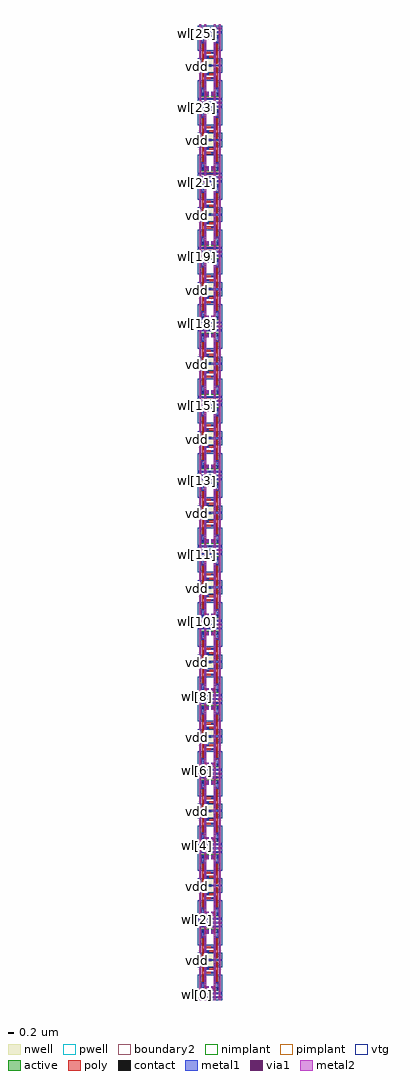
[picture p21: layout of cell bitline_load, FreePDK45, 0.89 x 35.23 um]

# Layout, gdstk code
import gdstk
lib = gdstk.Library(unit=1e-6, precision=5e-10)
def R(c, l, rs):  # rectangles x0, y0, x1, y1
    for r in rs: c.add(gdstk.rectangle(r[:2], r[2:], *l))
active = (1, 0)
pwell = (2, 0)
nwell = (3, 0)
nimplant = (4, 0)
pimplant = (5, 0)
vtg = (6, 0)
poly = (9, 0)
contact = (10, 0)
metal1 = (11, 0)
via1 = (12, 0)
metal2 = (13, 0)
boundary2 = (239, 0)

cell_6t = lib.new_cell('cell_6t')
R(cell_6t, active, [(0.3075,-0.045,0.3975,0.045), (0.3075,-0.045,0.3975,0.045), (0.045,0.2275,0.305,0.3625), (0.045,0.2275,0.12,0.3625), (0.045,0.2275,0.12,0.3625), (0.23,0.2275,0.305,0.3625), (0.23,0.2275,0.305,0.3625), (0.4,0.2275,0.66,0.3625), (0.4,0.2275,0.475,0.3625), (0.4,0.2275,0.475,0.3625), (0.585,0.2275,0.66,0.3625), (0.585,0.2275,0.66,0.3625), (0.045,0.2875,0.12,0.3625), (0.23,0.2875,0.305,0.3625), (0.4,0.2875,0.475,0.3625), (0.585,0.2875,0.66,0.3625), (-0.035,0.5475,0.225,0.7525), (-0.035,0.5475,0.04,0.7525), (-0.035,0.5475,0.04,0.7525), (0.15,0.5475,0.225,0.7525), (0.15,0.5475,0.225,0.7525), (0.48,0.5475,0.74,0.7525), (0.48,0.5475,0.555,0.7525), (0.48,0.5475,0.555,0.7525), (0.665,0.5475,0.74,0.7525), (0.665,0.5475,0.74,0.7525), (-0.035,0.6775,0.04,0.7525), (0.15,0.6775,0.225,0.7525), (0.48,0.6775,0.555,0.7525), (0.665,0.6775,0.74,0.7525), (-0.035,1.1425,0.04,1.2175), (-0.035,1.1425,0.225,1.2325), (-0.035,1.1425,0.04,1.2325), (-0.035,1.1425,0.04,1.2325), (0.15,1.1425,0.225,1.2175), (0.15,1.1425,0.225,1.2325), (0.15,1.1425,0.225,1.2325), (0.48,1.1425,0.555,1.2175), (0.48,1.1425,0.74,1.2325), (0.48,1.1425,0.555,1.2325), (0.48,1.1425,0.555,1.2325), (0.665,1.1425,0.74,1.2175), (0.665,1.1425,0.74,1.2325), (0.665,1.1425,0.74,1.2325), (0.3025,1.3,0.3925,1.39), (0.3025,1.3,0.3925,1.39)])
R(cell_6t, pwell, [(-0.09,-0.1,0.795,0.8075), (0.2525,-0.1,0.4525,0.1), (0.2525,-0.1,0.4525,0.1), (-0.01,0.1725,0.36,0.4175), (0.345,0.1725,0.715,0.4175), (-0.09,0.4925,0.28,0.8075), (0.425,0.4925,0.795,0.8075)])
R(cell_6t, nwell, [(-0.09,1.0875,0.28,1.2875), (-0.09,1.0875,0.795,1.445), (0.425,1.0875,0.795,1.2875), (0.2475,1.245,0.4475,1.445), (0.2475,1.245,0.4475,1.445)])
R(cell_6t, nimplant, [(0.045,0.2275,0.305,0.3625), (0.4,0.2275,0.66,0.3625), (-0.035,0.5475,0.225,0.7525), (0.48,0.5475,0.74,0.7525), (0.3025,1.3,0.3925,1.39), (0.3025,1.3,0.3925,1.39)])
R(cell_6t, pimplant, [(0.3075,-0.045,0.3975,0.045), (0.3075,-0.045,0.3975,0.045), (-0.035,1.1425,0.225,1.2325), (0.48,1.1425,0.74,1.2325)])
R(cell_6t, vtg, [(-0.09,-0.1,0.795,0.8075), (-0.01,0.1725,0.36,0.4175), (0.345,0.1725,0.715,0.4175), (-0.09,0.4925,0.28,0.8075), (0.425,0.4925,0.795,0.8075), (-0.09,1.0875,0.28,1.2875), (-0.09,1.0875,0.795,1.445), (0.425,1.0875,0.795,1.2875)])
R(cell_6t, poly, [(0.07,0.1025,0.635,0.1775), (0.2975,0.1025,0.3725,0.1775), (0.15,0.1725,0.2,0.2275), (0.15,0.1725,0.2,0.4175), (0.505,0.1725,0.555,0.2275), (0.505,0.1725,0.555,0.4175), (0.15,0.3625,0.2,0.4175), (0.505,0.3625,0.555,0.4175), (0.07,0.4925,0.12,0.5475), (0.07,0.4925,0.12,0.8075), (0.585,0.4925,0.635,0.5475), (0.585,0.4925,0.635,0.8075), (0.07,0.7525,0.12,0.8075), (0.585,0.7525,0.635,0.8075), (0.07,0.8075,0.12,1.0875), (0.07,0.8075,0.12,1.0875), (0.585,0.8075,0.635,1.0875), (0.585,0.8075,0.635,1.0875), (0.07,0.8425,0.5025,0.9175), (0.4275,0.8425,0.5025,0.9175), (0.4275,0.8425,0.5025,0.9175), (0.2025,0.9925,0.2775,1.0675), (0.2025,0.9925,0.2775,1.0675), (0.2025,0.9925,0.635,1.0675), (0.07,1.0875,0.12,1.1425), (0.07,1.0875,0.12,1.2875), (0.585,1.0875,0.635,1.1425), (0.585,1.0875,0.635,1.2875), (0.07,1.2325,0.12,1.2875), (0.585,1.2325,0.635,1.2875)])
R(cell_6t, contact, [(0.32,-0.0325,0.385,0.0325), (0.32,-0.0325,0.385,0.0325), (0.3025,0.1075,0.3675,0.1725), (0.05,0.2925,0.115,0.3575), (0.235,0.2925,0.3,0.3575), (0.405,0.2925,0.47,0.3575), (0.59,0.2925,0.655,0.3575), (-0.03,0.6825,0.035,0.7475), (0.155,0.6825,0.22,0.7475), (0.485,0.6825,0.55,0.7475), (0.67,0.6825,0.735,0.7475), (0.4325,0.8475,0.4975,0.9125), (0.4325,0.8475,0.4975,0.9125), (0.2075,0.9975,0.2725,1.0625), (0.2075,0.9975,0.2725,1.0625), (-0.03,1.1475,0.035,1.2125), (0.155,1.1475,0.22,1.2125), (0.485,1.1475,0.55,1.2125), (0.67,1.1475,0.735,1.2125), (0.315,1.3125,0.38,1.3775), (0.315,1.3125,0.38,1.3775)])
R(cell_6t, metal1, [(-0.09,-0.0325,0.795,0.0325), (-0.09,-0.0325,0.795,0.0325), (-0.0675,-0.0325,0.0675,0.0325), (-0.0675,-0.0325,0.0675,0.0325), (0.285,-0.0325,0.42,0.0325), (0.285,-0.0325,0.42,0.0325), (0.6375,-0.0325,0.7725,0.0325), (0.6375,-0.0325,0.7725,0.0325), (0.6375,-0.0325,0.7725,0.0325), (0.6375,-0.0325,0.7725,0.0325), (-0.09,0.1075,0.795,0.1725), (-0.09,0.1075,0.795,0.1725), (0.2675,0.1075,0.4025,0.1725), (-0.085,0.11,-0.0325,0.1725), (0.62,0.11,0.6725,0.1725), (0.05,0.2575,0.115,0.3925), (0.05,0.2575,0.12,0.5475), (0.2225,0.2575,0.2875,0.3925), (0.235,0.2575,0.3,0.3925), (0.405,0.2575,0.47,0.3925), (0.4175,0.2575,0.4825,0.3925), (0.59,0.2575,0.655,0.3925), (0.59,0.2575,0.66,0.5475), (0.05,0.4825,0.22,0.5475), (0.155,0.4825,0.22,1.2225), (0.485,0.4825,0.66,0.5475), (0.485,0.4825,0.55,1.1125), (-0.035,0.6475,0.035,0.7825), (-0.035,0.6475,0.035,0.7825), (-0.03,0.6475,0.035,0.7825), (0.155,0.6475,0.22,0.7825), (0.485,0.6475,0.55,0.7825), (0.67,0.6475,0.735,0.7825), (0.67,0.6475,0.74,0.7825), (0.67,0.6475,0.74,0.7825), (0.67,0.6475,0.74,0.7825), (0.67,0.6475,0.74,0.7825), (0.67,0.6475,0.74,0.7825), (0.67,0.6475,0.74,0.7825), (-0.0325,0.75,0.0325,0.885), (-0.0325,0.75,0.0325,0.885), (-0.0325,0.75,0.0325,0.885), (-0.0325,0.75,0.0325,0.885), (-0.0325,0.75,0.0325,0.885), (-0.0325,0.75,0.0325,0.885), (0.6725,0.75,0.7375,0.885), (0.6725,0.75,0.7375,0.885), (0.6725,0.75,0.7375,0.885), (0.6725,0.75,0.7375,0.885), (0.6725,0.75,0.7375,0.885), (0.6725,0.75,0.7375,0.885), (0.6725,0.75,0.7375,0.885), (0.6725,0.75,0.7375,0.885), (0.6725,0.75,0.7375,0.885), (0.6725,0.75,0.7375,0.885), (0.6725,0.75,0.7375,0.885), (0.6725,0.75,0.7375,0.885), (0.6725,0.75,0.7375,0.885), (0.6725,0.75,0.7375,0.885), (0.6725,0.75,0.7375,0.885), (0.6725,0.75,0.7375,0.885), (0.6725,0.75,0.7375,0.885), (0.6725,0.75,0.7375,0.885), (0.6725,0.75,0.7375,0.885), (0.6725,0.75,0.7375,0.885), (0.6725,0.75,0.7375,0.885), (0.6725,0.75,0.7375,0.885), (0.6725,0.75,0.7375,0.885), (0.6725,0.75,0.7375,0.885), (0.3975,0.8475,0.5325,0.9125), (0.3975,0.8475,0.5325,0.9125), (0.1725,0.9975,0.3075,1.0625), (0.1725,0.9975,0.3075,1.0625), (-0.035,1.1125,0.035,1.3125), (-0.03,1.1125,0.035,1.2475), (0.155,1.1125,0.22,1.2475), (0.485,1.1125,0.55,1.2475), (0.67,1.1125,0.735,1.2475), (0.67,1.1125,0.74,1.3125), (0.67,1.1125,0.74,1.3125), (-0.09,1.3125,0.795,1.3775), (-0.09,1.3125,0.795,1.3775), (0.28,1.3125,0.415,1.3775), (0.28,1.3125,0.415,1.3775), (0.2925,1.3125,0.3925,1.375), (0.2925,1.3125,0.3925,1.375), (0.2925,1.315,0.3925,1.3775), (0.2925,1.315,0.3925,1.3775)])
R(cell_6t, via1, [(-0.0325,-0.0325,0.0325,0.0325), (-0.0325,-0.0325,0.0325,0.0325), (0.6725,-0.0325,0.7375,0.0325), (0.6725,-0.0325,0.7375,0.0325), (0.6725,-0.0325,0.7375,0.0325), (0.6725,-0.0325,0.7375,0.0325), (0.2225,0.2925,0.2875,0.3575), (0.4175,0.2925,0.4825,0.3575), (-0.0325,0.785,0.0325,0.85), (-0.0325,0.785,0.0325,0.85), (-0.0325,0.785,0.0325,0.85), (-0.0325,0.785,0.0325,0.85), (-0.0325,0.785,0.0325,0.85), (-0.0325,0.785,0.0325,0.85), (0.6725,0.785,0.7375,0.85), (0.6725,0.785,0.7375,0.85), (0.6725,0.785,0.7375,0.85), (0.6725,0.785,0.7375,0.85), (0.6725,0.785,0.7375,0.85), (0.6725,0.785,0.7375,0.85), (0.6725,0.785,0.7375,0.85), (0.6725,0.785,0.7375,0.85), (0.6725,0.785,0.7375,0.85), (0.6725,0.785,0.7375,0.85), (0.6725,0.785,0.7375,0.85), (0.6725,0.785,0.7375,0.85), (0.6725,0.785,0.7375,0.85), (0.6725,0.785,0.7375,0.85), (0.6725,0.785,0.7375,0.85), (0.6725,0.785,0.7375,0.85), (0.6725,0.785,0.7375,0.85), (0.6725,0.785,0.7375,0.85), (0.6725,0.785,0.7375,0.85), (0.6725,0.785,0.7375,0.85), (0.6725,0.785,0.7375,0.85), (0.6725,0.785,0.7375,0.85), (0.6725,0.785,0.7375,0.85), (0.6725,0.785,0.7375,0.85)])
R(cell_6t, metal2, [(-0.035,-0.1,0.035,1.445), (-0.035,-0.1,0.035,1.445), (0.15,-0.1,0.22,1.445), (0.15,-0.1,0.22,1.445), (0.485,-0.1,0.555,1.445), (0.485,-0.1,0.555,1.445), (0.67,-0.1,0.74,1.445), (0.67,-0.1,0.74,1.445), (-0.0675,-0.035,0.0675,0.035), (-0.0675,-0.035,0.0675,0.035), (0.6375,-0.035,0.7725,0.035), (0.6375,-0.035,0.7725,0.035), (0.6375,-0.035,0.7725,0.035), (0.6375,-0.035,0.7725,0.035), (0.4925,-0.0325,0.55,0.0275), (0.67,-0.0325,0.74,1.3775), (-0.03,-0.03,0.03,0.0275), (0.1575,-0.025,0.2125,0.0275), (0.675,-0.025,0.735,0.0325), (0.22,0.2575,0.29,0.3925), (0.415,0.2575,0.485,0.3925), (-0.035,0.75,0.035,0.885), (-0.035,0.75,0.035,0.885), (-0.035,0.75,0.035,0.885), (-0.035,0.75,0.035,0.885), (-0.035,0.75,0.035,0.885), (-0.035,0.75,0.035,0.885), (0.67,0.75,0.74,0.885), (0.67,0.75,0.74,0.885), (0.67,0.75,0.74,0.885), (0.67,0.75,0.74,0.885), (0.67,0.75,0.74,0.885), (0.67,0.75,0.74,0.885), (0.67,0.75,0.74,0.885), (0.67,0.75,0.74,0.885), (0.67,0.75,0.74,0.885), (0.67,0.75,0.74,0.885), (0.67,0.75,0.74,0.885), (0.67,0.75,0.74,0.885), (0.67,0.75,0.74,0.885), (0.67,0.75,0.74,0.885), (0.67,0.75,0.74,0.885), (0.67,0.75,0.74,0.885), (0.67,0.75,0.74,0.885), (0.67,0.75,0.74,0.885), (0.67,0.75,0.74,0.885), (0.67,0.75,0.74,0.885), (0.67,0.75,0.74,0.885), (0.67,0.75,0.74,0.885), (0.67,0.75,0.74,0.885), (0.67,0.75,0.74,0.885)])
R(cell_6t, boundary2, [(0,0,0.705,1.345)])
cell_6t.add(gdstk.Label('gnd', (0,0.0175), layer=13, texttype=0))
cell_6t.add(gdstk.Label('gnd', (0.7025,0.015), layer=13, texttype=0))
cell_6t.add(gdstk.Label('BR', (0.52,0.0025), layer=13, texttype=0))
cell_6t.add(gdstk.Label('BL', (0.19,0.0025), layer=13, texttype=0))
cell_6t.add(gdstk.Label('l = 0.05', (0.645,1.1875), layer=230, texttype=0))
cell_6t.add(gdstk.Label('w = 0.09', (0.61,1.2975), layer=230, texttype=0))
cell_6t.add(gdstk.Label('l = 0.05', (0.06,1.1875), layer=230, texttype=0))
cell_6t.add(gdstk.Label('w = 0.09', (0.095,1.2975), layer=230, texttype=0))
cell_6t.add(gdstk.Label('l = 0.05', (0.575,0.65), layer=230, texttype=0))
cell_6t.add(gdstk.Label('w = 0.21', (0.61,0.4825), layer=230, texttype=0))
cell_6t.add(gdstk.Label('l = 0.05', (0.13,0.65), layer=230, texttype=0))
cell_6t.add(gdstk.Label('w = 0.21', (0.095,0.4825), layer=230, texttype=0))
cell_6t.add(gdstk.Label('l = 0.05', (0.565,0.295), layer=230, texttype=0))
cell_6t.add(gdstk.Label('w = 0.14', (0.53,0.1625), layer=230, texttype=0))
cell_6t.add(gdstk.Label('l = 0.05', (0.21,0.295), layer=230, texttype=0))
cell_6t.add(gdstk.Label('w = 0.14', (0.175,0.1625), layer=230, texttype=0))
cell_6t.add(gdstk.Label('vdd', (0.3425,1.355), layer=11, texttype=0))
cell_6t.add(gdstk.Label('WL', (-0.05,0.1475), layer=11, texttype=0))
cell_6t.add(gdstk.Label('gnd', (0.0875,-0.0075), layer=11, texttype=0))
cell_6t.add(gdstk.Label('BL', (0.15,-0.1), layer=13, texttype=0))
cell_6t.add(gdstk.Label('WL', (-0.09,0.1075), layer=11, texttype=0))
cell_6t.add(gdstk.Label('gnd', (-0.035,-0.1), layer=13, texttype=0))
cell_6t.add(gdstk.Label('gnd', (0.67,-0.1), layer=13, texttype=0))
cell_6t.add(gdstk.Label('gnd', (-0.09,-0.0325), layer=11, texttype=0))
cell_6t.add(gdstk.Label('vdd', (-0.09,1.3125), layer=11, texttype=0))
cell_6t.add(gdstk.Label('BR', (0.485,-0.1), layer=13, texttype=0))

bitline_load = lib.new_cell('bitline_load')
R(bitline_load, metal1, [(-0.09,-0.0325,0.795,0.0325), (-0.09,-0.0325,0.795,0.0325), (-0.09,0.1075,0.795,0.1725), (-0.09,0.1075,0.795,0.1725), (-0.09,1.3125,0.795,1.3775), (-0.09,1.3125,0.795,1.3775), (-0.09,2.5175,0.795,2.5825), (-0.09,2.5175,0.795,2.5825), (-0.09,2.6575,0.795,2.7225), (-0.09,2.6575,0.795,2.7225), (-0.09,2.7975,0.795,2.8625), (-0.09,2.7975,0.795,2.8625), (-0.09,4.0025,0.795,4.0675), (-0.09,4.0025,0.795,4.0675), (-0.09,5.2075,0.795,5.2725), (-0.09,5.2075,0.795,5.2725), (-0.09,5.3475,0.795,5.4125), (-0.09,5.3475,0.795,5.4125), (-0.09,5.4875,0.795,5.5525), (-0.09,5.4875,0.795,5.5525), (-0.09,6.6925,0.795,6.7575), (-0.09,6.6925,0.795,6.7575), (-0.09,7.8975,0.795,7.9625), (-0.09,7.8975,0.795,7.9625), (-0.09,8.0375,0.795,8.1025), (-0.09,8.0375,0.795,8.1025), (-0.09,8.1775,0.795,8.2425), (-0.09,8.1775,0.795,8.2425), (-0.09,9.3825,0.795,9.4475), (-0.09,9.3825,0.795,9.4475), (-0.09,10.5875,0.795,10.6525), (-0.09,10.5875,0.795,10.6525), (-0.09,10.7275,0.795,10.7925), (-0.09,10.7275,0.795,10.7925), (-0.09,10.8675,0.795,10.9325), (-0.09,10.8675,0.795,10.9325), (-0.09,12.0725,0.795,12.1375), (-0.09,12.0725,0.795,12.1375), (-0.09,13.2775,0.795,13.3425), (-0.09,13.2775,0.795,13.3425), (-0.09,13.4175,0.795,13.4825), (-0.09,13.4175,0.795,13.4825), (-0.09,13.5575,0.795,13.6225), (-0.09,13.5575,0.795,13.6225), (-0.09,14.7625,0.795,14.8275), (-0.09,14.7625,0.795,14.8275), (-0.09,15.9675,0.795,16.0325), (-0.09,15.9675,0.795,16.0325), (-0.09,16.1075,0.795,16.1725), (-0.09,16.1075,0.795,16.1725), (-0.09,16.2475,0.795,16.3125), (-0.09,16.2475,0.795,16.3125), (-0.09,17.4525,0.795,17.5175), (-0.09,17.4525,0.795,17.5175), (-0.09,18.6575,0.795,18.7225), (-0.09,18.6575,0.795,18.7225), (-0.09,18.7975,0.795,18.8625), (-0.09,18.7975,0.795,18.8625), (-0.09,18.9375,0.795,19.0025), (-0.09,18.9375,0.795,19.0025), (-0.09,20.1425,0.795,20.2075), (-0.09,20.1425,0.795,20.2075), (-0.09,21.3475,0.795,21.4125), (-0.09,21.3475,0.795,21.4125), (-0.09,21.4875,0.795,21.5525), (-0.09,21.4875,0.795,21.5525), (-0.09,21.6275,0.795,21.6925), (-0.09,21.6275,0.795,21.6925), (-0.09,22.8325,0.795,22.8975), (-0.09,22.8325,0.795,22.8975), (-0.09,24.0375,0.795,24.1025), (-0.09,24.0375,0.795,24.1025), (-0.09,24.1775,0.795,24.2425), (-0.09,24.1775,0.795,24.2425), (-0.09,24.3175,0.795,24.3825), (-0.09,24.3175,0.795,24.3825), (-0.09,25.5225,0.795,25.5875), (-0.09,25.5225,0.795,25.5875), (-0.09,26.7275,0.795,26.7925), (-0.09,26.7275,0.795,26.7925), (-0.09,26.8675,0.795,26.9325), (-0.09,26.8675,0.795,26.9325), (-0.09,27.0075,0.795,27.0725), (-0.09,27.0075,0.795,27.0725), (-0.09,28.2125,0.795,28.2775), (-0.09,28.2125,0.795,28.2775), (-0.09,29.4175,0.795,29.4825), (-0.09,29.4175,0.795,29.4825), (-0.09,29.5575,0.795,29.6225), (-0.09,29.5575,0.795,29.6225), (-0.09,29.6975,0.795,29.7625), (-0.09,29.6975,0.795,29.7625), (-0.09,30.9025,0.795,30.9675), (-0.09,30.9025,0.795,30.9675), (-0.09,32.1075,0.795,32.1725), (-0.09,32.1075,0.795,32.1725), (-0.09,32.2475,0.795,32.3125), (-0.09,32.2475,0.795,32.3125), (-0.09,32.3875,0.795,32.4525), (-0.09,32.3875,0.795,32.4525), (-0.09,33.5925,0.795,33.6575), (-0.09,33.5925,0.795,33.6575), (-0.09,34.7975,0.795,34.8625), (-0.09,34.7975,0.795,34.8625), (-0.09,34.9375,0.795,35.0025), (-0.09,34.9375,0.795,35.0025)])
R(bitline_load, metal2, [(-0.035,-0.1,0.035,35.125), (-0.035,-0.1,0.035,35.125), (0.15,-0.1,0.22,35.125), (0.15,-0.1,0.22,35.125), (0.485,-0.1,0.555,35.125), (0.485,-0.1,0.555,35.125), (0.67,-0.1,0.74,35.125), (0.67,-0.1,0.74,35.125)])
bitline_load.add(gdstk.Reference(cell_6t, (0,0)))
bitline_load.add(gdstk.Reference(cell_6t, (0,2.69), x_reflection=True))
bitline_load.add(gdstk.Reference(cell_6t, (0,2.69)))
bitline_load.add(gdstk.Reference(cell_6t, (0,5.38), x_reflection=True))
bitline_load.add(gdstk.Reference(cell_6t, (0,5.38)))
bitline_load.add(gdstk.Reference(cell_6t, (0,8.07), x_reflection=True))
bitline_load.add(gdstk.Reference(cell_6t, (0,8.07)))
bitline_load.add(gdstk.Reference(cell_6t, (0,10.76), x_reflection=True))
bitline_load.add(gdstk.Reference(cell_6t, (0,10.76)))
bitline_load.add(gdstk.Reference(cell_6t, (0,13.45), x_reflection=True))
bitline_load.add(gdstk.Reference(cell_6t, (0,13.45)))
bitline_load.add(gdstk.Reference(cell_6t, (0,16.14), x_reflection=True))
bitline_load.add(gdstk.Reference(cell_6t, (0,16.14)))
bitline_load.add(gdstk.Reference(cell_6t, (0,18.83), x_reflection=True))
bitline_load.add(gdstk.Reference(cell_6t, (0,18.83)))
bitline_load.add(gdstk.Reference(cell_6t, (0,21.52), x_reflection=True))
bitline_load.add(gdstk.Reference(cell_6t, (0,21.52)))
bitline_load.add(gdstk.Reference(cell_6t, (0,24.21), x_reflection=True))
bitline_load.add(gdstk.Reference(cell_6t, (0,24.21)))
bitline_load.add(gdstk.Reference(cell_6t, (0,26.9), x_reflection=True))
bitline_load.add(gdstk.Reference(cell_6t, (0,26.9)))
bitline_load.add(gdstk.Reference(cell_6t, (0,29.59), x_reflection=True))
bitline_load.add(gdstk.Reference(cell_6t, (0,29.59)))
bitline_load.add(gdstk.Reference(cell_6t, (0,32.28), x_reflection=True))
bitline_load.add(gdstk.Reference(cell_6t, (0,32.28)))
bitline_load.add(gdstk.Reference(cell_6t, (0,34.97), x_reflection=True))
bitline_load.add(gdstk.Reference(cell_6t, (0,0)))
bitline_load.add(gdstk.Reference(cell_6t, (0,2.69), x_reflection=True))
bitline_load.add(gdstk.Reference(cell_6t, (0,2.69)))
bitline_load.add(gdstk.Reference(cell_6t, (0,5.38), x_reflection=True))
bitline_load.add(gdstk.Reference(cell_6t, (0,5.38)))
bitline_load.add(gdstk.Reference(cell_6t, (0,8.07), x_reflection=True))
bitline_load.add(gdstk.Reference(cell_6t, (0,8.07)))
bitline_load.add(gdstk.Reference(cell_6t, (0,10.76), x_reflection=True))
bitline_load.add(gdstk.Reference(cell_6t, (0,10.76)))
bitline_load.add(gdstk.Reference(cell_6t, (0,13.45), x_reflection=True))
bitline_load.add(gdstk.Reference(cell_6t, (0,13.45)))
bitline_load.add(gdstk.Reference(cell_6t, (0,16.14), x_reflection=True))
bitline_load.add(gdstk.Reference(cell_6t, (0,16.14)))
bitline_load.add(gdstk.Reference(cell_6t, (0,18.83), x_reflection=True))
bitline_load.add(gdstk.Reference(cell_6t, (0,18.83)))
bitline_load.add(gdstk.Reference(cell_6t, (0,21.52), x_reflection=True))
bitline_load.add(gdstk.Reference(cell_6t, (0,21.52)))
bitline_load.add(gdstk.Reference(cell_6t, (0,24.21), x_reflection=True))
bitline_load.add(gdstk.Reference(cell_6t, (0,24.21)))
bitline_load.add(gdstk.Reference(cell_6t, (0,26.9), x_reflection=True))
bitline_load.add(gdstk.Reference(cell_6t, (0,26.9)))
bitline_load.add(gdstk.Reference(cell_6t, (0,29.59), x_reflection=True))
bitline_load.add(gdstk.Reference(cell_6t, (0,29.59)))
bitline_load.add(gdstk.Reference(cell_6t, (0,32.28), x_reflection=True))
bitline_load.add(gdstk.Reference(cell_6t, (0,32.28)))
bitline_load.add(gdstk.Reference(cell_6t, (0,34.97), x_reflection=True))
bitline_load.add(gdstk.Label('wl[4]', (-0.09,5.4875), layer=11, texttype=0))
bitline_load.add(gdstk.Label('wl[0]', (-0.09,0.1075), layer=11, texttype=0))
bitline_load.add(gdstk.Label('wl[2]', (-0.09,2.7975), layer=11, texttype=0))
bitline_load.add(gdstk.Label('br[0]', (0.485,-0.1), layer=13, texttype=0))
bitline_load.add(gdstk.Label('wl[18]', (-0.09,24.3175), layer=11, texttype=0))
bitline_load.add(gdstk.Label('wl[19]', (-0.09,26.7275), layer=11, texttype=0))
bitline_load.add(gdstk.Label('wl[15]', (-0.09,21.3475), layer=11, texttype=0))
bitline_load.add(gdstk.Label('wl[21]', (-0.09,29.4175), layer=11, texttype=0))
bitline_load.add(gdstk.Label('wl[8]', (-0.09,10.8675), layer=11, texttype=0))
bitline_load.add(gdstk.Label('wl[25]', (-0.09,34.7975), layer=11, texttype=0))
bitline_load.add(gdstk.Label('wl[23]', (-0.09,32.1075), layer=11, texttype=0))
bitline_load.add(gdstk.Label('wl[17]', (-0.09,24.0375), layer=11, texttype=0))
bitline_load.add(gdstk.Label('wl[6]', (-0.09,8.1775), layer=11, texttype=0))
bitline_load.add(gdstk.Label('wl[13]', (-0.09,18.6575), layer=11, texttype=0))
bitline_load.add(gdstk.Label('wl[11]', (-0.09,15.9675), layer=11, texttype=0))
bitline_load.add(gdstk.Label('wl[3]', (-0.09,5.2075), layer=11, texttype=0))
bitline_load.add(gdstk.Label('wl[5]', (-0.09,7.8975), layer=11, texttype=0))
bitline_load.add(gdstk.Label('wl[1]', (-0.09,2.5175), layer=11, texttype=0))
bitline_load.add(gdstk.Label('bl[0]', (0.15,-0.1), layer=13, texttype=0))
bitline_load.add(gdstk.Label('wl[20]', (-0.09,27.0075), layer=11, texttype=0))
bitline_load.add(gdstk.Label('wl[14]', (-0.09,18.9375), layer=11, texttype=0))
bitline_load.add(gdstk.Label('wl[24]', (-0.09,32.3875), layer=11, texttype=0))
bitline_load.add(gdstk.Label('wl[10]', (-0.09,13.5575), layer=11, texttype=0))
bitline_load.add(gdstk.Label('wl[9]', (-0.09,13.2775), layer=11, texttype=0))
bitline_load.add(gdstk.Label('wl[16]', (-0.09,21.6275), layer=11, texttype=0))
bitline_load.add(gdstk.Label('vdd', (-0.09,1.3125), layer=11, texttype=0))
bitline_load.add(gdstk.Label('vdd', (-0.09,4.0025), layer=11, texttype=0))
bitline_load.add(gdstk.Label('vdd', (-0.09,6.6925), layer=11, texttype=0))
bitline_load.add(gdstk.Label('vdd', (-0.09,9.3825), layer=11, texttype=0))
bitline_load.add(gdstk.Label('vdd', (-0.09,12.0725), layer=11, texttype=0))
bitline_load.add(gdstk.Label('vdd', (-0.09,14.7625), layer=11, texttype=0))
bitline_load.add(gdstk.Label('vdd', (-0.09,17.4525), layer=11, texttype=0))
bitline_load.add(gdstk.Label('vdd', (-0.09,20.1425), layer=11, texttype=0))
bitline_load.add(gdstk.Label('vdd', (-0.09,22.8325), layer=11, texttype=0))
bitline_load.add(gdstk.Label('vdd', (-0.09,25.5225), layer=11, texttype=0))
bitline_load.add(gdstk.Label('vdd', (-0.09,28.2125), layer=11, texttype=0))
bitline_load.add(gdstk.Label('vdd', (-0.09,30.9025), layer=11, texttype=0))
bitline_load.add(gdstk.Label('vdd', (-0.09,33.5925), layer=11, texttype=0))
bitline_load.add(gdstk.Label('gnd', (-0.035,-0.1), layer=13, texttype=0))
bitline_load.add(gdstk.Label('gnd', (0.67,-0.1), layer=13, texttype=0))
bitline_load.add(gdstk.Label('gnd', (-0.09,-0.0325), layer=11, texttype=0))
bitline_load.add(gdstk.Label('gnd', (-0.09,2.6575), layer=11, texttype=0))
bitline_load.add(gdstk.Label('gnd', (-0.09,5.3475), layer=11, texttype=0))
bitline_load.add(gdstk.Label('gnd', (-0.09,8.0375), layer=11, texttype=0))
bitline_load.add(gdstk.Label('gnd', (-0.09,10.7275), layer=11, texttype=0))
bitline_load.add(gdstk.Label('gnd', (-0.09,13.4175), layer=11, texttype=0))
bitline_load.add(gdstk.Label('gnd', (-0.09,16.1075), layer=11, texttype=0))
bitline_load.add(gdstk.Label('gnd', (-0.09,18.7975), layer=11, texttype=0))
bitline_load.add(gdstk.Label('gnd', (-0.09,21.4875), layer=11, texttype=0))
bitline_load.add(gdstk.Label('gnd', (-0.09,24.1775), layer=11, texttype=0))
bitline_load.add(gdstk.Label('gnd', (-0.09,26.8675), layer=11, texttype=0))
bitline_load.add(gdstk.Label('gnd', (-0.09,29.5575), layer=11, texttype=0))
bitline_load.add(gdstk.Label('gnd', (-0.09,32.2475), layer=11, texttype=0))
bitline_load.add(gdstk.Label('gnd', (-0.09,34.9375), layer=11, texttype=0))
bitline_load.add(gdstk.Label('wl[22]', (-0.09,29.6975), layer=11, texttype=0))
bitline_load.add(gdstk.Label('wl[12]', (-0.09,16.2475), layer=11, texttype=0))
bitline_load.add(gdstk.Label('wl[7]', (-0.09,10.5875), layer=11, texttype=0))
bitline_load.add(gdstk.Label('wl[4]', (-0.09,5.4875), layer=11, texttype=0))
bitline_load.add(gdstk.Label('wl[0]', (-0.09,0.1075), layer=11, texttype=0))
bitline_load.add(gdstk.Label('wl[2]', (-0.09,2.7975), layer=11, texttype=0))
bitline_load.add(gdstk.Label('br[0]', (0.485,-0.1), layer=13, texttype=0))
bitline_load.add(gdstk.Label('wl[18]', (-0.09,24.3175), layer=11, texttype=0))
bitline_load.add(gdstk.Label('wl[19]', (-0.09,26.7275), layer=11, texttype=0))
bitline_load.add(gdstk.Label('wl[15]', (-0.09,21.3475), layer=11, texttype=0))
bitline_load.add(gdstk.Label('wl[21]', (-0.09,29.4175), layer=11, texttype=0))
bitline_load.add(gdstk.Label('wl[8]', (-0.09,10.8675), layer=11, texttype=0))
bitline_load.add(gdstk.Label('wl[25]', (-0.09,34.7975), layer=11, texttype=0))
bitline_load.add(gdstk.Label('wl[23]', (-0.09,32.1075), layer=11, texttype=0))
bitline_load.add(gdstk.Label('wl[17]', (-0.09,24.0375), layer=11, texttype=0))
bitline_load.add(gdstk.Label('wl[6]', (-0.09,8.1775), layer=11, texttype=0))
bitline_load.add(gdstk.Label('wl[13]', (-0.09,18.6575), layer=11, texttype=0))
bitline_load.add(gdstk.Label('wl[11]', (-0.09,15.9675), layer=11, texttype=0))
bitline_load.add(gdstk.Label('wl[3]', (-0.09,5.2075), layer=11, texttype=0))
bitline_load.add(gdstk.Label('wl[5]', (-0.09,7.8975), layer=11, texttype=0))
bitline_load.add(gdstk.Label('wl[1]', (-0.09,2.5175), layer=11, texttype=0))
bitline_load.add(gdstk.Label('bl[0]', (0.15,-0.1), layer=13, texttype=0))
bitline_load.add(gdstk.Label('wl[20]', (-0.09,27.0075), layer=11, texttype=0))
bitline_load.add(gdstk.Label('wl[14]', (-0.09,18.9375), layer=11, texttype=0))
bitline_load.add(gdstk.Label('wl[24]', (-0.09,32.3875), layer=11, texttype=0))
bitline_load.add(gdstk.Label('wl[10]', (-0.09,13.5575), layer=11, texttype=0))
bitline_load.add(gdstk.Label('wl[9]', (-0.09,13.2775), layer=11, texttype=0))
bitline_load.add(gdstk.Label('wl[16]', (-0.09,21.6275), layer=11, texttype=0))
bitline_load.add(gdstk.Label('vdd', (-0.09,1.3125), layer=11, texttype=0))
bitline_load.add(gdstk.Label('vdd', (-0.09,4.0025), layer=11, texttype=0))
bitline_load.add(gdstk.Label('vdd', (-0.09,6.6925), layer=11, texttype=0))
bitline_load.add(gdstk.Label('vdd', (-0.09,9.3825), layer=11, texttype=0))
bitline_load.add(gdstk.Label('vdd', (-0.09,12.0725), layer=11, texttype=0))
bitline_load.add(gdstk.Label('vdd', (-0.09,14.7625), layer=11, texttype=0))
bitline_load.add(gdstk.Label('vdd', (-0.09,17.4525), layer=11, texttype=0))
bitline_load.add(gdstk.Label('vdd', (-0.09,20.1425), layer=11, texttype=0))
bitline_load.add(gdstk.Label('vdd', (-0.09,22.8325), layer=11, texttype=0))
bitline_load.add(gdstk.Label('vdd', (-0.09,25.5225), layer=11, texttype=0))
bitline_load.add(gdstk.Label('vdd', (-0.09,28.2125), layer=11, texttype=0))
bitline_load.add(gdstk.Label('vdd', (-0.09,30.9025), layer=11, texttype=0))
bitline_load.add(gdstk.Label('vdd', (-0.09,33.5925), layer=11, texttype=0))
bitline_load.add(gdstk.Label('gnd', (-0.035,-0.1), layer=13, texttype=0))
bitline_load.add(gdstk.Label('gnd', (0.67,-0.1), layer=13, texttype=0))
bitline_load.add(gdstk.Label('gnd', (-0.09,-0.0325), layer=11, texttype=0))
bitline_load.add(gdstk.Label('gnd', (-0.09,2.6575), layer=11, texttype=0))
bitline_load.add(gdstk.Label('gnd', (-0.09,5.3475), layer=11, texttype=0))
bitline_load.add(gdstk.Label('gnd', (-0.09,8.0375), layer=11, texttype=0))
bitline_load.add(gdstk.Label('gnd', (-0.09,10.7275), layer=11, texttype=0))
bitline_load.add(gdstk.Label('gnd', (-0.09,13.4175), layer=11, texttype=0))
bitline_load.add(gdstk.Label('gnd', (-0.09,16.1075), layer=11, texttype=0))
bitline_load.add(gdstk.Label('gnd', (-0.09,18.7975), layer=11, texttype=0))
bitline_load.add(gdstk.Label('gnd', (-0.09,21.4875), layer=11, texttype=0))
bitline_load.add(gdstk.Label('gnd', (-0.09,24.1775), layer=11, texttype=0))
bitline_load.add(gdstk.Label('gnd', (-0.09,26.8675), layer=11, texttype=0))
bitline_load.add(gdstk.Label('gnd', (-0.09,29.5575), layer=11, texttype=0))
bitline_load.add(gdstk.Label('gnd', (-0.09,32.2475), layer=11, texttype=0))
bitline_load.add(gdstk.Label('gnd', (-0.09,34.9375), layer=11, texttype=0))
bitline_load.add(gdstk.Label('wl[22]', (-0.09,29.6975), layer=11, texttype=0))
bitline_load.add(gdstk.Label('wl[12]', (-0.09,16.2475), layer=11, texttype=0))
bitline_load.add(gdstk.Label('wl[7]', (-0.09,10.5875), layer=11, texttype=0))

lib.write_gds('bitline_load.gds')
